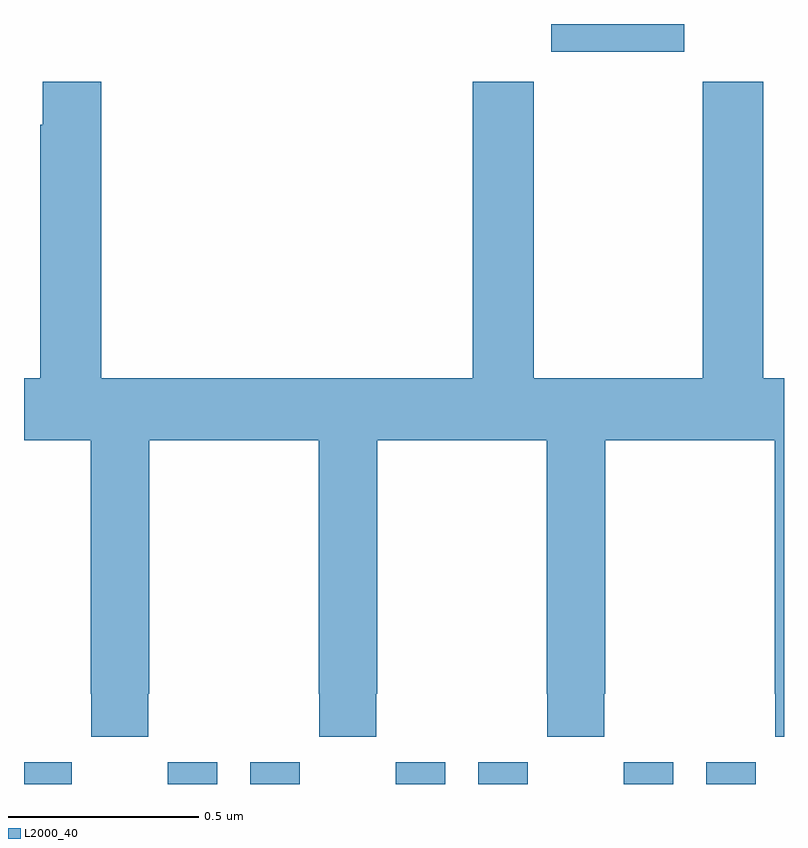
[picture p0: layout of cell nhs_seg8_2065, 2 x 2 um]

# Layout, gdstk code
import gdstk
lib = gdstk.Library(unit=1e-6, precision=1e-09)
def R(c, l, rs):  # rectangles x0, y0, x1, y1
    for r in rs: c.add(gdstk.rectangle(r[:2], r[2:], *l))
def P(c, l, *ps):  # polygons
    for p in ps: c.add(gdstk.Polygon(p, *l))
L2000_40 = (2000, 40)

nhs_seg8_2065 = lib.new_cell('nhs_seg8_2065')
R(nhs_seg8_2065, L2000_40, [(138,1144.9,138.126,1144.957), (138.378,1144.9,138.508,1144.957), (138.596,1144.9,138.726,1144.957), (138.978,1144.9,139.108,1144.957), (139.196,1144.9,139.326,1144.957), (139.578,1144.9,139.708,1144.957), (139.796,1144.9,139.926,1144.957), (139.388,1146.827,139.738,1146.9)])
P(nhs_seg8_2065, L2000_40, [(139.341,1146.748),(139.181,1146.748),(139.181,1145.968),(138.203,1145.968),(138.203,1146.748),(138.049,1146.748),(138.049,1146.635),(138.043,1146.635),(138.043,1145.968),(138,1145.968),(138,1145.804),(138.175,1145.804),(138.175,1145.137),(138.177,1145.137),(138.177,1145.025),(138.327,1145.025),(138.327,1145.137),(138.33,1145.137),(138.33,1145.804),(138.775,1145.804),(138.775,1145.137),(138.777,1145.137),(138.777,1145.025),(138.927,1145.025),(138.927,1145.137),(138.93,1145.137),(138.93,1145.804),(139.375,1145.804),(139.375,1145.137),(139.377,1145.137),(139.377,1145.025),(139.527,1145.025),(139.527,1145.137),(139.53,1145.137),(139.53,1145.804),(139.975,1145.804),(139.975,1145.137),(139.977,1145.137),(139.977,1145.025),(140,1145.025),(140,1145.968),(139.946,1145.968),(139.946,1146.748),(139.786,1146.748),(139.786,1145.968),(139.341,1145.968)])

lib.write_gds('nhs_seg8_2065.gds')
